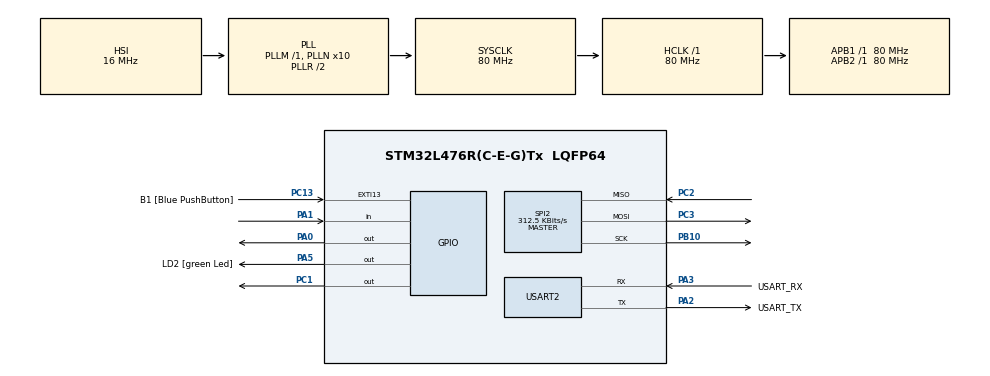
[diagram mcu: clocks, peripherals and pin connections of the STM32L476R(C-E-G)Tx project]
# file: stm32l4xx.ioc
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Mcu.Family=STM32L4
Mcu.Name=STM32L476R(C-E-G)Tx
Mcu.Package=LQFP64
NVIC.PriorityGroup=NVIC_PRIORITYGROUP_4
PA0.Signal=GPIO_Output
PA1.Signal=GPIO_Input
PA13\ (JTMS-SWDIO).GPIO_Label=TMS
PA13\ (JTMS-SWDIO).Mode=Serial_Wire
PA13\ (JTMS-SWDIO).Signal=SYS_JTMS-SWDIO
PA14\ (JTCK-SWCLK).GPIO_Label=TCK
PA14\ (JTCK-SWCLK).Mode=Serial_Wire
PA14\ (JTCK-SWCLK).Signal=SYS_JTCK-SWCLK
PA2.GPIO_Label=USART_TX
PA2.GPIO_Mode=GPIO_MODE_AF_PP
PA2.GPIO_PuPd=GPIO_NOPULL
PA2.GPIO_Speed=GPIO_SPEED_FREQ_VERY_HIGH
PA2.Mode=Asynchronous
PA2.Signal=USART2_TX
PA3.GPIO_Label=USART_RX
PA3.GPIO_Mode=GPIO_MODE_AF_PP
PA3.GPIO_PuPd=GPIO_NOPULL
PA3.GPIO_Speed=GPIO_SPEED_FREQ_VERY_HIGH
PA3.Mode=Asynchronous
PA3.Signal=USART2_RX
PA5.GPIO_Label=LD2 [green Led]
PA5.GPIO_ModeDefaultOutputPP=GPIO_MODE_OUTPUT_PP
PA5.GPIO_PuPd=GPIO_NOPULL
PA5.GPIO_Speed=GPIO_SPEED_FREQ_LOW
PA5.Signal=GPIO_Output
PB10.Mode=Full_Duplex_Master
PB10.Signal=SPI2_SCK
PB3\ (JTDO-TRACESWO).GPIO_Label=SWO
PB3\ (JTDO-TRACESWO).Signal=SYS_JTDO-SWO
PC1.Signal=GPIO_Output
PC13.GPIO_Label=B1 [Blue PushButton]
PC13.GPIO_ModeDefaultEXTI=GPIO_MODE_IT_FALLING
PC13.GPIO_PuPd=GPIO_NOPULL
PC13.Signal=GPXTI13
PC14-OSC32_IN\ (PC14).Signal=RCC_OSC32_IN
PC15-OSC32_OUT\ (PC15).Signal=RCC_OSC32_OUT
PC2.Mode=Full_Duplex_Master
PC2.Signal=SPI2_MISO
PC3.Mode=Full_Duplex_Master
PC3.Signal=SPI2_MOSI
PH0-OSC_IN\ (PH0).Mode=HSE-External-Oscillator
PH0-OSC_IN\ (PH0).Signal=RCC_OSC_IN
PH1-OSC_OUT\ (PH1).Mode=HSE-External-Oscillator
PH1-OSC_OUT\ (PH1).Signal=RCC_OSC_OUT
ProjectManager.HeapSize=0x200
ProjectManager.StackSize=0x400
ProjectManager.TargetToolchain=STM32CubeIDE
RCC.ADCFreq_Value=64000000
RCC.AHBFreq_Value=80000000
RCC.APB1Freq_Value=80000000
RCC.APB1TimFreq_Value=80000000
RCC.APB2Freq_Value=80000000
RCC.APB2TimFreq_Value=80000000
RCC.CortexFreq_Value=80000000
RCC.HCLKFreq_Value=80000000
RCC.HSE_VALUE=8000000
RCC.HSI_VALUE=16000000
RCC.LSE_VALUE=32768
RCC.MSI_VALUE=4000000
RCC.PLLN=10
RCC.PLLSourceVirtual=RCC_PLLSOURCE_HSI
RCC.PREFETCH_ENABLE=1
RCC.SYSCLKFreq_VALUE=80000000
RCC.SYSCLKSource=RCC_SYSCLKSOURCE_PLLCLK
RCC.USBFreq_Value=64000000
RCC.VCOOutputFreq_Value=160000000
SPI2.BaudRatePrescaler=SPI_BAUDRATEPRESCALER_256
SPI2.CalculateBaudRate=312.5 KBits/s
SPI2.DataSize=SPI_DATASIZE_8BIT
SPI2.Direction=SPI_DIRECTION_2LINES
SPI2.Mode=SPI_MODE_MASTER
SPI2.VirtualType=VM_MASTER
USART2.VirtualMode-Asynchronous=VM_ASYNC
VP_FATFS_VS_Generic.Mode=User_defined
board=NUCLEO-L476RG

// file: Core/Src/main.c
/* USER CODE BEGIN Header */
/**
  ******************************************************************************
  * @file           : main.c
  * @brief          : Main program body
  ******************************************************************************
  * @attention
  *
  * Copyright (c) 2025 STMicroelectronics.
  * All rights reserved.
  *
  * This software is licensed under terms that can be found in the LICENSE file
  * in the root directory of this software component.
  * If no LICENSE file comes with this software, it is provided AS-IS.
  *
  ******************************************************************************
  */
/* USER CODE END Header */
#include "main.h"
#include "fatfs.h"

/* USER CODE BEGIN Includes */
#include <stdio.h>
#include <string.h>
#include <stdarg.h>

/* USER CODE END Includes */

SPI_HandleTypeDef hspi2;

UART_HandleTypeDef huart2;

/* USER CODE BEGIN PV */
//some variables for FatFs
  FATFS FatFs; 	//Fatfs handle
  FIL fil; 		//File handle
  FRESULT fres; //Result after operations
  UINT bw;
/* USER CODE END PV */

void SystemClock_Config(void);
static void MX_GPIO_Init(void);
static void MX_USART2_UART_Init(void);
static void MX_SPI2_Init(void);

/* USER CODE BEGIN 0 */
void myprintf(const char *fmt, ...) {
  static char buffer[256];
  va_list args;
  va_start(args, fmt);
  vsnprintf(buffer, sizeof(buffer), fmt, args);
  va_end(args);

  int len = strlen(buffer);
  HAL_UART_Transmit(&huart2, (uint8_t*)buffer, len, -1);

}
void write_data_to_file(const char* data) {
	     // Bytes writte
	myprintf(data);
    // Open the file (create if not exists, and append)
	fres = f_open(&fil, "log.txt", FA_WRITE | FA_OPEN_ALWAYS);
    if (fres == FR_OK) {
        f_lseek(&fil, f_size(&fil)); // Seek to end of file

        fres = f_write(&fil, data, strlen(data), &bw); // Write data
        if (fres != FR_OK || bw != strlen(data)) {
            // Handle write error
        }
        f_close(&fil); // Close the file after writing
    } else {
        // Handle open error
    }
}

/* USER CODE END 0 */

int main(void)
{

  /* USER CODE BEGIN 1 */
	uint32_t pulseWidth= RESET;
  /* USER CODE END 1 */

  /* MCU Configuration--------------------------------------------------------*/

  /* Reset of all peripherals, Initializes the Flash interface and the Systick. */
  HAL_Init();

  /* Configure the system clock */
  SystemClock_Config();

  /* Initialize all configured peripherals */
  MX_GPIO_Init();
  MX_USART2_UART_Init();
  MX_FATFS_Init();
  MX_SPI2_Init();
  /* USER CODE BEGIN 2 */
  myprintf("\r\n~ SD card demo  ~\r\n\r\n");

  HAL_Delay(1000); //a short delay is important to let the SD card settle
 //Open the file system
  fres = f_mount(&FatFs, "", 1); //1=mount now
  if (fres != FR_OK) {
	myprintf("f_mount error (%i)\r\n", fres);
	while(1);
  }

  //Let's get some statistics from the SD card
  DWORD free_clusters, free_sectors, total_sectors;

  FATFS* getFreeFs;

  fres = f_getfree("", &free_clusters, &getFreeFs);
  if (fres != FR_OK) {
	myprintf("f_getfree error (%i)\r\n", fres);
	while(1);
  }
  BYTE readBuf[30];

  /* USER CODE END 2 */

  /* Infinite loop */
  /* USER CODE BEGIN WHILE */
  while (1)
  {

	HAL_GPIO_WritePin(GPIOA, GPIO_PIN_0, GPIO_PIN_SET);
	HAL_Delay(10);
	HAL_GPIO_WritePin(GPIOA, GPIO_PIN_0, GPIO_PIN_RESET);
	while(HAL_GPIO_ReadPin(GPIOA, GPIO_PIN_1) == 0);
	pulseWidth = RESET;
	while(HAL_GPIO_ReadPin(GPIOA, GPIO_PIN_1) == 1) {
		pulseWidth++;
		HAL_Delay(1000);
	}
	sprintf((char*)readBuf, "Ultra Sonic Data %lu \r\n", pulseWidth);
	write_data_to_file((char*)readBuf);
	 HAL_Delay(1000);
    /* USER CODE END WHILE */

    /* USER CODE BEGIN 3 */
  }
  //Be a tidy kiwi - don't forget to close your file!
   f_close(&fil);

   //We're done, so de-mount the drive
   f_mount(NULL, "", 0);
  /* USER CODE END 3 */
}

void SystemClock_Config(void)
{
  RCC_OscInitTypeDef RCC_OscInitStruct = {0};
  RCC_ClkInitTypeDef RCC_ClkInitStruct = {0};

  /** Configure the main internal regulator output voltage
  */
  if (HAL_PWREx_ControlVoltageScaling(PWR_REGULATOR_VOLTAGE_SCALE1) != HAL_OK)
  {
    Error_Handler();
  }

  /** Initializes the RCC Oscillators according to the specified parameters
  * in the RCC_OscInitTypeDef structure.
  */
  RCC_OscInitStruct.OscillatorType = RCC_OSCILLATORTYPE_HSI;
  RCC_OscInitStruct.HSIState = RCC_HSI_ON;
  RCC_OscInitStruct.HSICalibrationValue = RCC_HSICALIBRATION_DEFAULT;
  RCC_OscInitStruct.PLL.PLLState = RCC_PLL_ON;
  RCC_OscInitStruct.PLL.PLLSource = RCC_PLLSOURCE_HSI;
  RCC_OscInitStruct.PLL.PLLM = 1;
  RCC_OscInitStruct.PLL.PLLN = 10;
  RCC_OscInitStruct.PLL.PLLP = RCC_PLLP_DIV7;
  RCC_OscInitStruct.PLL.PLLQ = RCC_PLLQ_DIV2;
  RCC_OscInitStruct.PLL.PLLR = RCC_PLLR_DIV2;
  if (HAL_RCC_OscConfig(&RCC_OscInitStruct) != HAL_OK)
  {
    Error_Handler();
  }

  /** Initializes the CPU, AHB and APB buses clocks
  */
  RCC_ClkInitStruct.ClockType = RCC_CLOCKTYPE_HCLK|RCC_CLOCKTYPE_SYSCLK
                              |RCC_CLOCKTYPE_PCLK1|RCC_CLOCKTYPE_PCLK2;
  RCC_ClkInitStruct.SYSCLKSource = RCC_SYSCLKSOURCE_PLLCLK;
  RCC_ClkInitStruct.AHBCLKDivider = RCC_SYSCLK_DIV1;
  RCC_ClkInitStruct.APB1CLKDivider = RCC_HCLK_DIV1;
  RCC_ClkInitStruct.APB2CLKDivider = RCC_HCLK_DIV1;

  if (HAL_RCC_ClockConfig(&RCC_ClkInitStruct, FLASH_LATENCY_4) != HAL_OK)
  {
    Error_Handler();
  }
}

static void MX_SPI2_Init(void)
{

  /* SPI2 parameter configuration*/
  hspi2.Instance = SPI2;
  hspi2.Init.Mode = SPI_MODE_MASTER;
  hspi2.Init.Direction = SPI_DIRECTION_2LINES;
  hspi2.Init.DataSize = SPI_DATASIZE_8BIT;
  hspi2.Init.CLKPolarity = SPI_POLARITY_LOW;
  hspi2.Init.CLKPhase = SPI_PHASE_1EDGE;
  hspi2.Init.NSS = SPI_NSS_SOFT;
  hspi2.Init.BaudRatePrescaler = SPI_BAUDRATEPRESCALER_256;
  hspi2.Init.FirstBit = SPI_FIRSTBIT_MSB;
  hspi2.Init.TIMode = SPI_TIMODE_DISABLE;
  hspi2.Init.CRCCalculation = SPI_CRCCALCULATION_DISABLE;
  hspi2.Init.CRCPolynomial = 7;
  hspi2.Init.CRCLength = SPI_CRC_LENGTH_DATASIZE;
  hspi2.Init.NSSPMode = SPI_NSS_PULSE_ENABLE;
  if (HAL_SPI_Init(&hspi2) != HAL_OK)
  {
    Error_Handler();
  }

}

static void MX_USART2_UART_Init(void)
{

  huart2.Instance = USART2;
  huart2.Init.BaudRate = 115200;
  huart2.Init.WordLength = UART_WORDLENGTH_8B;
  huart2.Init.StopBits = UART_STOPBITS_1;
  huart2.Init.Parity = UART_PARITY_NONE;
  huart2.Init.Mode = UART_MODE_TX_RX;
  huart2.Init.HwFlowCtl = UART_HWCONTROL_NONE;
  huart2.Init.OverSampling = UART_OVERSAMPLING_16;
  huart2.Init.OneBitSampling = UART_ONE_BIT_SAMPLE_DISABLE;
  huart2.AdvancedInit.AdvFeatureInit = UART_ADVFEATURE_NO_INIT;
  if (HAL_UART_Init(&huart2) != HAL_OK)
  {
    Error_Handler();
  }

}

static void MX_GPIO_Init(void)
{
  GPIO_InitTypeDef GPIO_InitStruct = {0};

  /* GPIO Ports Clock Enable */
  __HAL_RCC_GPIOC_CLK_ENABLE();
  __HAL_RCC_GPIOH_CLK_ENABLE();
  __HAL_RCC_GPIOA_CLK_ENABLE();
  __HAL_RCC_GPIOB_CLK_ENABLE();

  /*Configure GPIO pin Output Level */
  HAL_GPIO_WritePin(GPIOC, GPIO_PIN_1, GPIO_PIN_RESET);

  /*Configure GPIO pin Output Level */
  HAL_GPIO_WritePin(GPIOA, GPIO_PIN_0|LD2_Pin, GPIO_PIN_RESET);

  /*Configure GPIO pin : B1_Pin */
  GPIO_InitStruct.Pin = B1_Pin;
  GPIO_InitStruct.Mode = GPIO_MODE_IT_FALLING;
  GPIO_InitStruct.Pull = GPIO_NOPULL;
  HAL_GPIO_Init(B1_GPIO_Port, &GPIO_InitStruct);

  /*Configure GPIO pin : PC1 */
  GPIO_InitStruct.Pin = GPIO_PIN_1;
  GPIO_InitStruct.Mode = GPIO_MODE_OUTPUT_PP;
  GPIO_InitStruct.Pull = GPIO_NOPULL;
  GPIO_InitStruct.Speed = GPIO_SPEED_FREQ_LOW;
  HAL_GPIO_Init(GPIOC, &GPIO_InitStruct);

  /*Configure GPIO pins : PA0 LD2_Pin */
  GPIO_InitStruct.Pin = GPIO_PIN_0|LD2_Pin;
  GPIO_InitStruct.Mode = GPIO_MODE_OUTPUT_PP;
  GPIO_InitStruct.Pull = GPIO_NOPULL;
  GPIO_InitStruct.Speed = GPIO_SPEED_FREQ_LOW;
  HAL_GPIO_Init(GPIOA, &GPIO_InitStruct);

  /*Configure GPIO pin : PA1 */
  GPIO_InitStruct.Pin = GPIO_PIN_1;
  GPIO_InitStruct.Mode = GPIO_MODE_INPUT;
  GPIO_InitStruct.Pull = GPIO_NOPULL;
  HAL_GPIO_Init(GPIOA, &GPIO_InitStruct);

}

void Error_Handler(void)
{
  __disable_irq();
  while (1)
  {
  }
}
